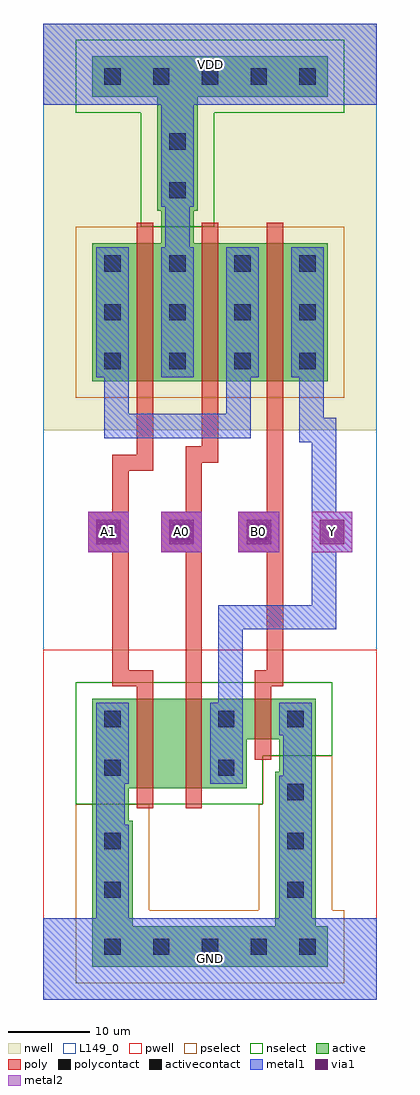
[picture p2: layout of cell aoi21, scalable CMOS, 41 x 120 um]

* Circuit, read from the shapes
.subckt aoi21 A0 A1 B0 GND VDD Y
M1 n1 A1 GND GND nfet w=11u l=2u
M2 Y A0 n1 GND nfet w=11u l=2u
M3 GND B0 Y GND nfet w=5u l=2u
M4 VDD A1 n2 VDD pfet w=17u l=2u
M5 n2 A0 VDD VDD pfet w=17u l=2u
M6 Y B0 n2 VDD pfet w=17u l=2u
.ends

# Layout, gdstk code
import gdstk
lib = gdstk.Library(unit=1e-6, precision=1e-09)
def R(c, l, rs):  # rectangles x0, y0, x1, y1
    for r in rs: c.add(gdstk.rectangle(r[:2], r[2:], *l))
def A(c, l, x, y, w, h, nx, ny, dx, dy):  # array of equal rectangles
    R(c, l, [(x+i*dx, y+j*dy, x+i*dx+w, y+j*dy+h) for i in range(nx) for j in range(ny)])
def P(c, l, *ps):  # polygons
    for p in ps: c.add(gdstk.Polygon(p, *l))
pwell = (41, 0)
nwell = (42, 0)
active = (43, 0)
pselect = (44, 0)
nselect = (45, 0)
poly = (46, 0)
polycontact = (47, 0)
activecontact = (48, 0)
metal1 = (49, 0)
via1 = (50, 0)
metal2 = (51, 0)
L149_0 = (149, 0)

via = lib.new_cell('via')
R(via, metal1, [(-2.5,-2.5,2.5,2.5)])
R(via, via1, [(-1.5,-1.5,1.5,1.5)])
R(via, metal2, [(-2.5,-2.5,2.5,2.5)])

aoi21 = lib.new_cell('aoi21')
R(aoi21, pwell, [(0,0,41,43)])
P(aoi21, pwell, [(31,20),(31,26),(39.5,26),(39.5,43),(0,43),(0,20)])
R(aoi21, nwell, [(0,70,41,99), (0,70,41,120)])
R(aoi21, active, [(6,4,35,9), (6,9,11,22), (28.5,9,33.5,28), (6,22,10.5,26), (6,26,11.5,37), (29,28,33.5,32), (28,32,33.5,37), (6,76,11.5,93), (6,76,35,93), (29.5,76,35,93), (14.5,93,18.5,97), (14,97,19,111), (6,111,35,116)])
P(aoi21, active, [(25,26),(25,32),(33.5,32),(33.5,37),(6,37),(6,26)])
R(aoi21, pselect, [(4,2,37,11), (4,11,13,24), (4,74,37,95)])
P(aoi21, pselect, [(26.5,11),(35.5,11),(35.5,30),(27,30),(27,24),(26.5,24)])
R(aoi21, nselect, [(12,95,21,111), (4,109,37,118)])
P(aoi21, nselect, [(27,24),(27,30),(35.5,30),(35.5,39),(4,39),(4,24)])
A(aoi21, poly, 11.5, 73.5, 2, 2.5, 3, 2, 8, 19.5)
A(aoi21, poly, 11.5, 76, 2, 17, 3, 1, 8, 0)
R(aoi21, poly, [(11.5,23.5,13.5,26), (17.5,23.5,19.5,26), (11.5,26,13.5,37), (17.5,26,19.5,37), (26,29.5,28,32), (26,32,28,37), (11.5,37,13.5,39.5), (17.5,37,19.5,39.5), (26,37,28,39.5), (5.5,55,10.5,60), (14.5,55,19.5,60), (24,55,29,60)])
R(aoi21, polycontact, [(7,56.5,9,58.5), (16,56.5,18,58.5), (25.5,56.5,27.5,58.5)])
A(aoi21, activecontact, 7.5, 5.5, 2, 2, 5, 2, 6, 107)
A(aoi21, activecontact, 30, 12.5, 2, 2, 1, 3, 0, 6)
A(aoi21, activecontact, 7.5, 77.5, 2, 2, 4, 3, 8, 6)
R(aoi21, activecontact, [(7.5,12.5,9.5,14.5), (7.5,18.5,9.5,20.5), (7.5,27.5,9.5,29.5), (21.5,27.5,23.5,29.5), (7.5,33.5,9.5,35.5), (21.5,33.5,23.5,35.5), (30,33.5,32,35.5), (15.5,98.5,17.5,100.5), (15.5,104.5,17.5,106.5)])
A(aoi21, metal1, 6.5, 76.5, 4, 16, 4, 1, 8, 0)
R(aoi21, metal1, [(0,0,41,10), (6.5,10,10.5,21.5), (29,10,33,27.5), (6.5,21.5,10,26.5), (6.5,26.5,10.5,36.5), (20.5,26.5,24.5,36.5), (29.5,27.5,33,32.5), (29,32.5,33,36.5), (6,55.5,10,59.5), (15,55.5,19,59.5), (24.5,55.5,28.5,59.5), (15,92.5,18,97.5), (14.5,97.5,18.5,110), (0,110,41,120)])
R(aoi21, metal2, [(5.5,55,10.5,60), (14.5,55,19.5,60), (24,55,29,60), (33,55,38,60)])
R(aoi21, L149_0, [(0,0,41,120)])
aoi21.add(gdstk.FlexPath([(24,76.5),(24,70.5),(9,70.5),(9,76.5)], 3, ends="flush", simple_path=True, layer=49, datatype=0))  # metal1
aoi21.add(gdstk.FlexPath([(23,36.5),(23,47),(34.5,47),(34.5,70),(33,70),(33,76.5)], 3, ends="flush", simple_path=True, layer=49, datatype=0))  # metal1
aoi21.add(gdstk.FlexPath([(20.5,73.5),(20.5,67),(18.5,67),(18.5,39.5)], 2, ends="flush", simple_path=True, layer=46, datatype=0))  # poly
aoi21.add(gdstk.FlexPath([(28.5,73.5),(28.5,39.5),(26,39.5)], 2, ends="flush", simple_path=True, layer=46, datatype=0))  # poly
aoi21.add(gdstk.FlexPath([(12.5,73.5),(12.5,66),(9.5,66),(9.5,60)], 2, ends="flush", simple_path=True, layer=46, datatype=0))  # poly
aoi21.add(gdstk.FlexPath([(9.5,55),(9.5,39.5),(13.5,39.5)], 2, ends="flush", simple_path=True, layer=46, datatype=0))  # poly
aoi21.add(gdstk.Reference(via, (26.5,57.5)))
aoi21.add(gdstk.Reference(via, (8,57.5)))
aoi21.add(gdstk.Reference(via, (17,57.5)))
aoi21.add(gdstk.Reference(via, (35.5,57.5)))
aoi21.add(gdstk.Label('GND', (20.5,5), layer=2, texttype=0))
aoi21.add(gdstk.Label('VDD', (20.5,115), layer=2, texttype=0))
aoi21.add(gdstk.Label('A1', (8,57.5), layer=3, texttype=0))
aoi21.add(gdstk.Label('A0', (17,57.5), layer=3, texttype=0))
aoi21.add(gdstk.Label('B0', (26.5,57.5), layer=3, texttype=0))
aoi21.add(gdstk.Label('Y', (35.5,57.5), layer=3, texttype=0))
aoi21.add(gdstk.Label('GND', (20.5,5), layer=2, texttype=0))
aoi21.add(gdstk.Label('VDD', (20.5,115), layer=2, texttype=0))
aoi21.add(gdstk.Label('A1', (8,57.5), layer=3, texttype=0))
aoi21.add(gdstk.Label('A0', (17,57.5), layer=3, texttype=0))
aoi21.add(gdstk.Label('B0', (26.5,57.5), layer=3, texttype=0))
aoi21.add(gdstk.Label('Y', (35.5,57.5), layer=3, texttype=0))

lib.write_gds('aoi21.gds')
